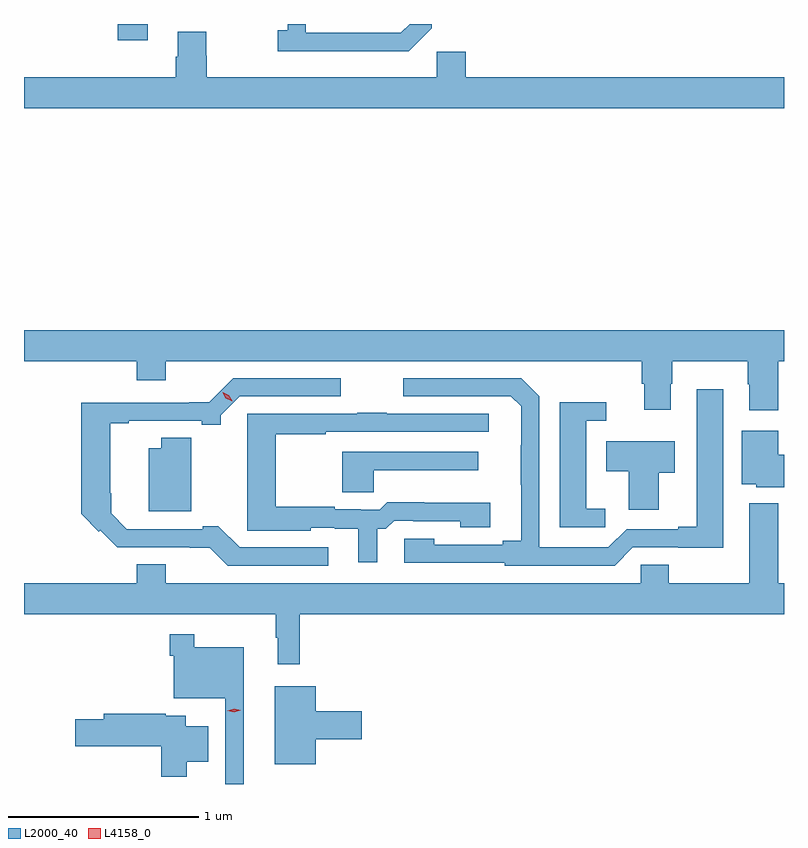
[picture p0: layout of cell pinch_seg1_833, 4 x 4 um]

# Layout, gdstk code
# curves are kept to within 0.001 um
import gdstk
lib = gdstk.Library(unit=1e-6, precision=1e-09)
def R(c, l, rs):  # rectangles x0, y0, x1, y1
    for r in rs: c.add(gdstk.rectangle(r[:2], r[2:], *l))
def P(c, l, *ps):  # polygons
    for p in ps: c.add(gdstk.Polygon(p, *l))
L2000_40 = (2000, 40)
L4158_0 = (4158, 0)

pinch_seg1_833 = lib.new_cell('pinch_seg1_833')
R(pinch_seg1_833, L2000_40, [(431.959,541.434,432.115,541.519)])
P(pinch_seg1_833, L2000_40, [(433.611,541.497),(433.611,541.519),(433.495,541.519),(433.449,541.473),(432.949,541.473),(432.949,541.519),(432.852,541.519),(432.852,541.486),(432.801,541.486),(432.801,541.376),(433.49,541.376)],
  [(435.465,541.24),(433.79,541.24),(433.79,541.372),(433.638,541.372),(433.638,541.24),(432.428,541.24),(432.428,541.353),(432.423,541.353),(432.423,541.478),(432.275,541.478),(432.275,541.346),(432.263,541.346),(432.263,541.24),(431.465,541.24),(431.465,541.076),(435.465,541.076)],
  [(435.434,539.744),(435.465,539.744),(435.465,539.908),(431.465,539.908),(431.465,539.744),(432.059,539.744),(432.059,539.645),(432.211,539.645),(432.211,539.744),(434.717,539.744),(434.717,539.625),(434.729,539.625),(434.729,539.49),(434.869,539.49),(434.869,539.625),(434.877,539.625),(434.877,539.744),(435.274,539.744),(435.274,539.624),(435.281,539.624),(435.281,539.487),(435.434,539.487)],
  [(433.066,538.764),(432.6,538.764),(432.488,538.876),(432.407,538.876),(432.407,538.86),(432.006,538.86),(431.923,538.944),(431.923,539.05),(431.92,539.05),(431.92,539.418),(432.016,539.418),(432.016,539.43),(432.401,539.43),(432.401,539.41),(432.501,539.41),(432.501,539.46),(432.6,539.559),(433.132,539.559),(433.132,539.655),(432.567,539.655),(432.44,539.528),(432.335,539.528),(432.335,539.526),(431.765,539.526),(431.765,538.941),(431.858,538.847),(431.865,538.855),(431.955,538.764),(432.443,538.763),(432.537,538.668),(433.066,538.668)],
  [(434.67,538.764),(435.145,538.763),(435.145,539.596),(435.005,539.596),(435.005,538.873),(434.909,538.873),(434.909,538.86),(434.637,538.86),(434.541,538.764),(434.178,538.764),(434.178,539.559),(434.082,539.655),(433.461,539.655),(433.461,539.559),(434.028,539.559),(434.081,539.506),(434.081,538.799),(433.985,538.799),(433.985,538.779),(433.623,538.779),(433.623,538.81),(433.467,538.81),(433.467,538.683),(433.995,538.683),(433.995,538.668),(434.574,538.668)],
  [(434.524,538.969),(434.425,538.969),(434.425,539.43),(434.53,539.43),(434.53,539.528),(434.285,539.528),(434.285,538.87),(434.524,538.87)],
  [(433.324,538.862),(433.37,538.862),(433.413,538.905),(433.513,538.905),(433.513,538.902),(433.762,538.902),(433.762,538.871),(433.918,538.871),(433.918,538.999),(433.571,538.999),(433.571,539.002),(433.378,539.002),(433.338,538.962),(433.238,538.962),(433.238,538.965),(433.101,538.965),(433.101,538.978),(432.789,538.978),(432.789,539.361),(433.052,539.361),(433.052,539.373),(433.912,539.373),(433.912,539.469),(433.373,539.469),(433.373,539.474),(433.219,539.474),(433.219,539.469),(432.641,539.469),(432.641,538.853),(432.975,538.853),(432.975,538.869),(433.101,538.869),(433.101,538.862),(433.223,538.862),(433.223,538.686),(433.324,538.686)],
  [(435.465,539.252),(435.436,539.252),(435.436,539.377),(435.242,539.377),(435.242,539.096),(435.318,539.096),(435.318,539.081),(435.465,539.081)],
  [(432.346,539.341),(432.188,539.341),(432.188,539.287),(432.122,539.287),(432.122,538.955),(432.346,538.955)],
  [(434.806,539.158),(434.89,539.158),(434.89,539.323),(434.529,539.323),(434.529,539.165),(434.648,539.165),(434.648,538.962),(434.806,538.962)],
  [(433.307,539.171),(433.855,539.171),(433.855,539.268),(433.141,539.268),(433.141,539.055),(433.307,539.055)],
  [(432.917,538.412),(435.465,538.412),(435.465,538.576),(435.434,538.576),(435.434,538.996),(435.281,538.996),(435.281,538.576),(434.859,538.576),(434.859,538.674),(434.712,538.674),(434.712,538.576),(432.211,538.576),(432.211,538.675),(432.059,538.675),(432.059,538.576),(431.465,538.576),(431.465,538.412),(432.789,538.412),(432.789,538.289),(432.8,538.289),(432.8,538.149),(432.917,538.149)],
  [(432.622,538.24),(432.361,538.24),(432.361,538.306),(432.232,538.306),(432.232,538.193),(432.252,538.193),(432.252,537.971),(432.525,537.971),(432.525,537.519),(432.622,537.519)],
  [(433,537.755),(433.243,537.755),(433.243,537.902),(433,537.902),(433,538.033),(432.785,538.033),(432.785,537.623),(433,537.623)],
  [(432.322,537.635),(432.436,537.635),(432.436,537.823),(432.316,537.823),(432.316,537.877),(432.212,537.877),(432.212,537.89),(431.885,537.89),(431.885,537.86),(431.736,537.86),(431.736,537.718),(432.188,537.718),(432.188,537.557),(432.322,537.557)])
P(pinch_seg1_833, L4158_0, [(432.56,539.534),(432.528,539.55),(432.51,539.579),(432.51,539.58),(432.511,539.58),(432.542,539.564),(432.56,539.535),(432.56,539.534)],
  [(432.572,537.896),(432.536,537.904),(432.535,537.904),(432.536,537.904),(432.571,537.916),(432.607,537.908),(432.607,537.908),(432.607,537.907)])

lib.write_gds('pinch_seg1_833.gds')
